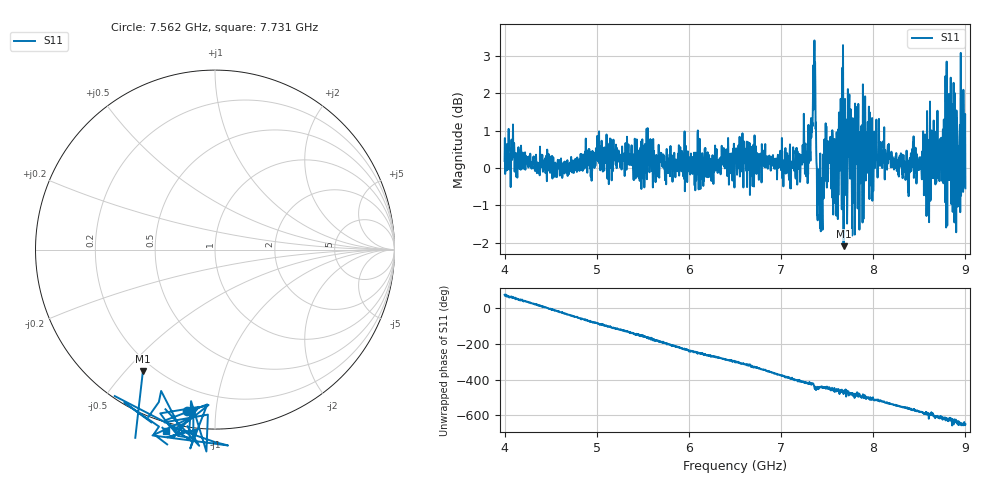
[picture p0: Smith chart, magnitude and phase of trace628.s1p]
! Created with skrf 1.8.0 (http://scikit-rf.org).
# Hz S RI R 50.0
!freq ReS11 ImS11
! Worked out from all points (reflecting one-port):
!   1601 points, 4 GHz to 9 GHz, reference 50 ohm
!   lowest |S11| = -2.1 dB at 7.678 GHz (marker M1), VSWR 8.36, Z = 7.88 - j27.9 ohm
!   phase of S11 starts at 75 deg and turns -725 deg over the sweep
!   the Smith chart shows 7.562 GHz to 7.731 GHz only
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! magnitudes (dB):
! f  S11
! 4 GHz  0.2
! 4.625 GHz  -0.3
! 5.25 GHz  0.3
! 5.875 GHz  -0.1
! 6.5 GHz  0.4
! 7.125 GHz  0.2
! 7.294 GHz  -0.2
! 7.347 GHz  2.3
! 7.366 GHz  2.3
! 7.416 GHz  -1.0
! 7.509 GHz  -0.4
! 7.575 GHz  0.6
! 7.638 GHz  0.3
! 7.65 GHz  0.6
! 7.678 GHz  -2.1
! 7.75 GHz  -0.3
! 7.775 GHz  1.3
! 7.928 GHz  1.0
! 7.981 GHz  -0.5
! 8.375 GHz  -0.3
! 8.538 GHz  0.1
! 8.603 GHz  -1.0
! 8.656 GHz  1.3
! 8.766 GHz  1.3
! 8.819 GHz  -0.3
! 8.919 GHz  -0.5
! 8.972 GHz  0.2
! 9 GHz  -0.5
